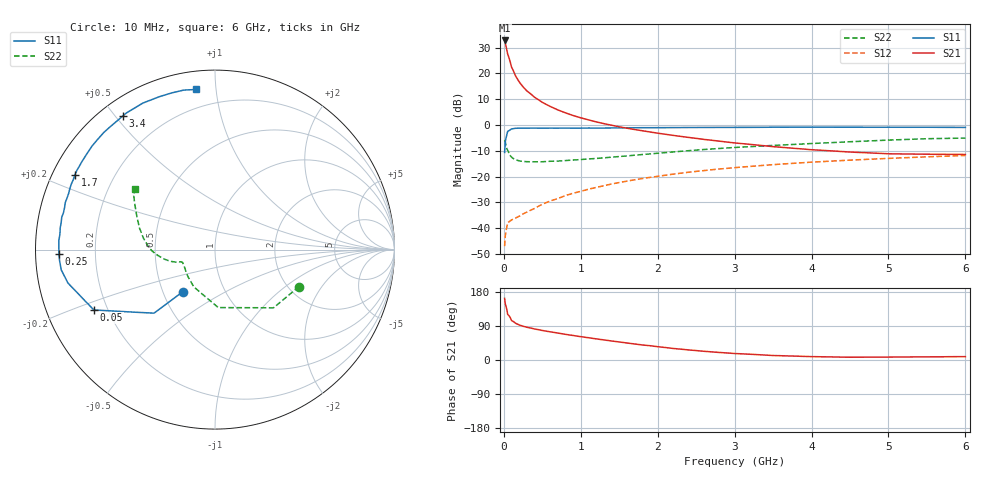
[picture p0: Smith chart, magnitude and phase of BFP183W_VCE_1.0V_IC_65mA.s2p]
! (c) 2017  Infineon Technologies AG, Munich
! Infineon Technologies  Discrete & RF Semiconductors
! BFP183W
! VCE =  1.0 V,  IC =  65 mA
! Common Emitter S-Parameters:  Jan 2017
# GHz  S  MA  R  50
!  f  S11  S21  S12  S22
! GHz  MAG  ANG  MAG  ANG  MAG  ANG  MAG  ANG
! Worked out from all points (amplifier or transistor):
!   77 points, 10 MHz to 6 GHz, reference 50 ohm
!   highest |S21| = 32.8 dB at 10 MHz (marker M1)
!   |S21| within 3 dB of that: start of sweep to 33.86 MHz
!   unconditionally stable (mu >= 1): start of sweep to 19.85 MHz; 176.9 MHz to end of sweep
!   at 130 MHz: K = 0.83, MSG = 28.5 dB, |S12| = -36.4 dB
!   at 2.2 GHz: K = 1.49, MAG = 3.4 dB, |S12| = -19.0 dB
!   at 6 GHz: K = 1.45, MAG = -3.8 dB, |S12| = -11.8 dB
!   S11 on the Smith chart (normalised r, x): 10 MHz: 0.63, -0.32; 50 MHz: 0.15, -0.23; 250 MHz: 0.07, -0.01; 1.7 GHz: 0.07, +0.25; 3.4 GHz: 0.06, +0.52; 6 GHz: 0.10, +0.88
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0.01  0.2937 -127.3  43.45 162.5  0.0045 65.2  0.5118 -23.7
0.02  0.4905 -133.8  38.24 146.8  0.0074 57.9  0.4597 -44.9
0.05  0.7542 -153.5  23.72 120.4  0.0127 38.7  0.3235 -86.8
0.1  0.8404 -167.2  13.24 104.1  0.0145 36.1  0.2389 -119.6
0.15  0.8642 -172.5  9.062 97.2  0.0157 38.5  0.2127 -135.2
0.2  0.8684 -176.1  6.834 92.5  0.0171 42.7  0.2022 -143.6
0.25  0.8692 -178.4  5.479 89.1  0.019 45.1  0.1967 -149.1
0.3  0.87 179.7  4.569 86.4  0.0206 48.2  0.1949 -152.4
0.4  0.8716 176.7  3.442 81.8  0.0243 54.9  0.1938 -156.6
0.5  0.8682 174.3  2.75 77.9  0.0291 57.8  0.1943 -158.4
0.6  0.8709 172.0  2.299 74.4  0.0337 60.1  0.1985 -159.7
0.7  0.87 170.2  1.968 71.2  0.0375 63.1  0.2001 -160.3
0.8  0.8727 168.1  1.723 67.7  0.0429 64.9  0.2049 -160.6
1.1  0.8744 162.6  1.258 58.8  0.0571 66.3  0.2202 -161.5
1.4  0.8769 157.3  0.992 50.2  0.0721 65.9  0.2383 -163.3
1.7  0.8844 151.8  0.818 42.3  0.0869 64.7  0.2603 -165.9
2.1  0.8898 144.8  0.662 32.9  0.1066 61.9  0.2922 -170.2
3.1  0.9 128.9  0.436 16.2  0.1534 52.8  0.3737 176.8
3.4  0.9046 124.5  0.395 13.0  0.1664 50.0  0.3949 172.5
4.1  0.9084 115.0  0.326 8.6  0.1943 43.3  0.4448 162.4
5.1  0.9053 104.6  0.276 7.8  0.2288 34.4  0.5167 150.0
6  0.8984 96.7  0.269 8.9  0.2573 26.9  0.5583 143.1
